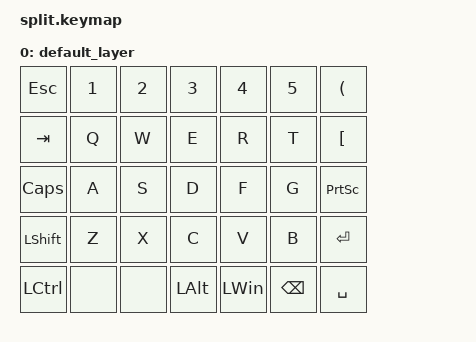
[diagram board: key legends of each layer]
#include <behaviors.dtsi>
#include <dt-bindings/zmk/keys.h>
#include <dt-bindings/zmk/bt.h>

/ {  
    keymap {
        compatible = "zmk,keymap";

        default_layer {
            bindings = <
        &kp ESCAPE        &kp N1     &kp N2 &kp N3        &kp N4     &kp N5          &kp LEFT_PARENTHESIS
        &kp TAB           &kp Q      &kp W  &kp E         &kp R      &kp T           &kp LEFT_BRACKET
        &kp CAPSLOCK      &kp A      &kp S  &kp D         &kp F      &kp G           &kp PRINTSCREEN
        &kp LSHIFT        &kp Z      &kp X  &kp C         &kp V      &kp B           &kp ENTER
        &kp LEFT_CONTROL  &none      &none  &kp LEFT_ALT  &kp LWIN   &kp BACKSPACE   &kp SPACE
            >;
        };
    };
};
